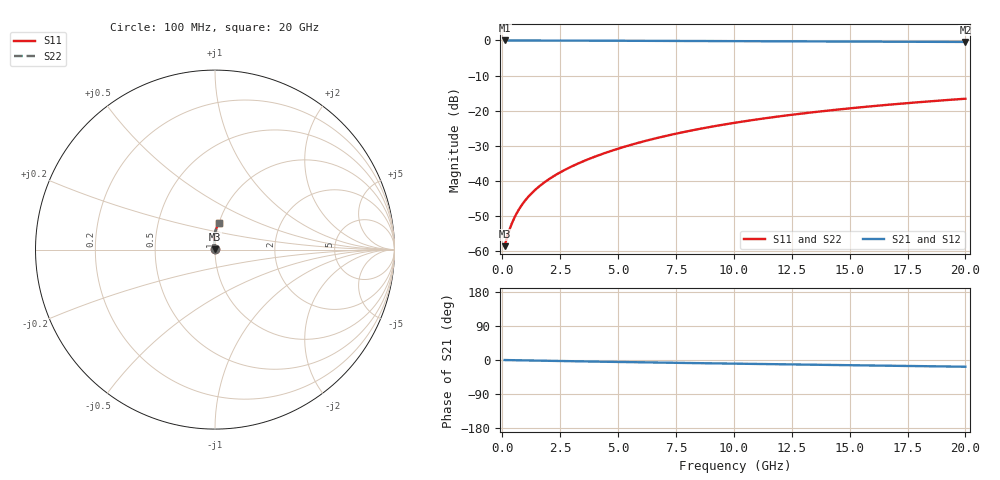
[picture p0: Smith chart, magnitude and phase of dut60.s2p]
! Touchstone file exported from HFSS 2024.1.0
!  File:  C:/UserFiles/LocalFiles/RDL_TSV_Batchsim/temp_RDL_top_60_1778681687.aedt
!  Generated:  10:16:51 PM May 13, 2026
!  Design:  RDL_top
!  Project:  temp_RDL_top_60_1778681687
!  Setup:  Setup1
!  Solution:  Sweep
! Variables:
!  dtsv = 10.80580581um
!  hbump = 3um
!  htsv = 70.57um
!  ldown = 100um
!  lrdl = 262.44um
!  p = 40
!  p1 = 46.62um
!  rhole = 1um
!  t = 450um
!  tdown = 3.915915916um
!  trdl = 4.25um
!  wdown = 15.38538539um
!  wrdl = 28.45um
# GHz S MA R 50.000000
! Terminal data exported
! Port[1] = Box2_T1
! Port[2] = Box2_T2
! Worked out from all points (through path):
!   200 points, 100 MHz to 20 GHz, reference 50 ohm
!   highest |S21| = -0.01 dB at 100 MHz (marker M1); lowest = -0.4 dB at 20 GHz (marker M2)
!   group delay of S21, straight-line fit = 2.42 ps
!   lowest |S11| = -58.6 dB at 100 MHz (marker M3), VSWR 1.00, Z = 50.1 + j0.0627 ohm
!   |S11| at or under -10 dB: start of sweep to end of sweep
!   |S22| runs from -58.6 to -16.6 dB; largest |S21 - S12| = 4e-15
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0.1  0.00117 32.3  0.999 -0.1  0.999 -0.1  0.00117 32.3
! Gamma 0 0 0 0
! Port Impedance 50 0 50 0
0.2  0.001562 47.2  0.9989 -0.2  0.9989 -0.2  0.001562 47.2
0.3  0.001974 56.4  0.9988 -0.3  0.9988 -0.3  0.001973 56.4
0.4  0.00241 62.9  0.9987 -0.4  0.9987 -0.4  0.002409 62.9
0.5  0.002866 67.6  0.9986 -0.6  0.9986 -0.6  0.002866 67.6
0.6  0.003337 71.1  0.9986 -0.7  0.9986 -0.7  0.003337 71.1
0.8  0.004305 76.0  0.9984 -0.9  0.9984 -0.9  0.004305 76.0
1  0.005296 79.3  0.9982 -1.1  0.9982 -1.1  0.005296 79.3
1.2  0.006301 81.7  0.998 -1.3  0.998 -1.3  0.006302 81.7
1.7  0.00887 85.8  0.9974 -1.8  0.9974 -1.8  0.008871 85.9
2.2  0.01153 88.6  0.9965 -2.4  0.9965 -2.4  0.01153 88.6
2.8  0.01486 91.0  0.9953 -3.0  0.9953 -3.0  0.01486 91.1
3.5  0.01898 93.1  0.9936 -3.7  0.9936 -3.7  0.01898 93.1
4.2  0.02335 94.4  0.9917 -4.4  0.9917 -4.4  0.02335 94.4
5  0.02865 95.4  0.9894 -5.2  0.9894 -5.2  0.02865 95.4
6.8  0.04157 95.9  0.984 -6.8  0.984 -6.8  0.04158 95.9
8.4  0.05392 95.1  0.9792 -8.3  0.9792 -8.3  0.05392 95.1
10.1  0.06755 93.6  0.9745 -9.7  0.9745 -9.7  0.06755 93.6
11.7  0.08061 91.9  0.9703 -11.0  0.9703 -11.0  0.08062 92.0
13.4  0.09456 90.0  0.9662 -12.4  0.9662 -12.4  0.09456 90.0
16.7  0.1214 86.1  0.9588 -15.1  0.9588 -15.1  0.1214 86.1
20  0.1477 82.4  0.9518 -17.7  0.9518 -17.7  0.1477 82.4
